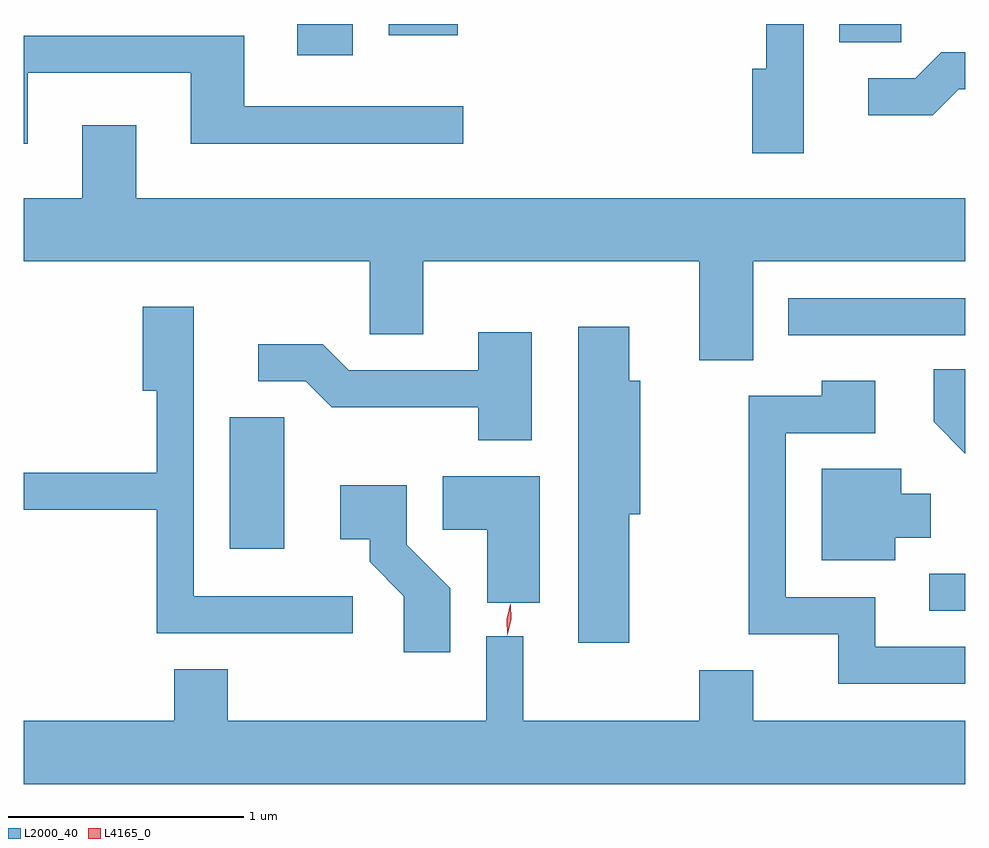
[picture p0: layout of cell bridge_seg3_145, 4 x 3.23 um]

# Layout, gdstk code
import gdstk
lib = gdstk.Library(unit=1e-6, precision=1e-09)
def R(c, l, rs):  # rectangles x0, y0, x1, y1
    for r in rs: c.add(gdstk.rectangle(r[:2], r[2:], *l))
def P(c, l, *ps):  # polygons
    for p in ps: c.add(gdstk.Polygon(p, *l))
L2000_40 = (2000, 40)
L4165_0 = (4165, 0)

bridge_seg3_145 = lib.new_cell('bridge_seg3_145')
R(bridge_seg3_145, L2000_40, [(781.408,1228.871,781.561,1229.029), (778.436,1229.136,778.669,1229.694), (780.808,1230.041,781.561,1230.199), (778.723,1231.231,778.959,1231.364), (781.026,1231.286,781.289,1231.364), (779.111,1231.316,779.404,1231.364)])
P(bridge_seg3_145, L2000_40, [(780.874,1231.364),(780.716,1231.364),(780.716,1231.174),(780.656,1231.174),(780.656,1230.816),(780.874,1230.816)],
  [(777.579,1231.156),(778.271,1231.156),(778.271,1230.856),(779.428,1230.856),(779.428,1231.014),(778.499,1231.014),(778.499,1231.314),(777.561,1231.314),(777.561,1230.856),(777.579,1230.856)],
  [(781.532,1231.086),(781.561,1231.086),(781.561,1231.244),(781.459,1231.244),(781.349,1231.134),(781.148,1231.134),(781.148,1230.976),(781.422,1230.976)],
  [(780.659,1230.356),(781.561,1230.356),(781.561,1230.624),(778.039,1230.624),(778.039,1230.934),(777.811,1230.934),(777.811,1230.624),(777.561,1230.624),(777.561,1230.356),(779.031,1230.356),(779.031,1230.046),(779.259,1230.046),(779.259,1230.356),(780.431,1230.356),(780.431,1229.936),(780.659,1229.936)],
  [(778.958,1228.934),(778.284,1228.934),(778.284,1230.164),(778.066,1230.164),(778.066,1229.806),(778.126,1229.806),(778.126,1229.459),(777.561,1229.459),(777.561,1229.301),(778.126,1229.301),(778.126,1228.776),(778.958,1228.776)],
  [(780.134,1229.281),(780.179,1229.281),(780.179,1229.849),(780.134,1229.849),(780.134,1230.079),(779.916,1230.079),(779.916,1228.736),(780.134,1228.736)],
  [(779.719,1230.054),(779.491,1230.054),(779.491,1229.894),(778.942,1229.894),(778.832,1230.004),(778.558,1230.004),(778.558,1229.846),(778.759,1229.846),(778.869,1229.736),(779.491,1229.736),(779.491,1229.596),(779.719,1229.596)],
  [(781.561,1229.898),(781.426,1229.898),(781.426,1229.674),(781.561,1229.539)],
  [(781.561,1228.719),(781.179,1228.719),(781.179,1228.929),(780.799,1228.929),(780.799,1229.626),(781.179,1229.626),(781.179,1229.849),(780.951,1229.849),(780.951,1229.784),(780.641,1229.784),(780.641,1228.771),(781.021,1228.771),(781.021,1228.561),(781.561,1228.561)],
  [(781.264,1229.181),(781.414,1229.181),(781.414,1229.369),(781.289,1229.369),(781.289,1229.474),(780.951,1229.474),(780.951,1229.086),(781.264,1229.086)],
  [(779.754,1229.444),(779.341,1229.444),(779.341,1229.216),(779.531,1229.216),(779.531,1228.906),(779.754,1228.906)],
  [(779.374,1228.967),(779.189,1229.152),(779.189,1229.404),(778.906,1229.404),(778.906,1229.176),(779.031,1229.176),(779.031,1229.079),(779.176,1228.934),(779.176,1228.696),(779.374,1228.696)],
  [(781.561,1228.404),(780.659,1228.404),(780.659,1228.619),(780.431,1228.619),(780.431,1228.404),(779.684,1228.404),(779.684,1228.763),(779.526,1228.763),(779.526,1228.404),(778.429,1228.404),(778.429,1228.624),(778.201,1228.624),(778.201,1228.404),(777.561,1228.404),(777.561,1228.136),(781.561,1228.136)])
P(bridge_seg3_145, L4165_0, [(779.615,1228.768),(779.612,1228.835),(779.628,1228.9),(779.628,1228.9),(779.629,1228.9),(779.632,1228.833),(779.616,1228.768),(779.616,1228.768)])

lib.write_gds('bridge_seg3_145.gds')
